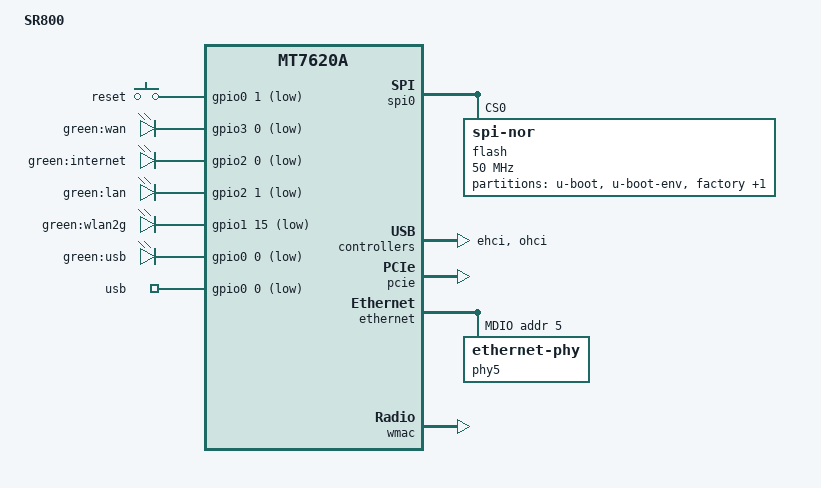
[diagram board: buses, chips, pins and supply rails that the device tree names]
// SPDX-License-Identifier: GPL-2.0-or-later OR MIT

#include "mt7620a.dtsi"

#include <dt-bindings/gpio/gpio.h>
#include <dt-bindings/input/input.h>

/ {
	compatible = "dlink,dwr-118-a1", "ralink,mt7620a-soc";
	model = "SR800";

	aliases {
		led-boot = &led_internet;
		led-failsafe = &led_internet;
		led-upgrade = &led_internet;
	};

	keys {
		compatible = "gpio-keys";
		reset {
			label = "reset";
			gpios = <&gpio0 1 GPIO_ACTIVE_LOW>;
			linux,code = <KEY_RESTART>;
		};
	};

	leds {
		compatible = "gpio-leds";

		wan {
			label = "green:wan";
			gpios = <&gpio3 0 GPIO_ACTIVE_LOW>;
		};

		led_internet: internet {
			label = "green:internet";
			gpios = <&gpio2 0 GPIO_ACTIVE_LOW>;
		};

		lan {
			label = "green:lan";
			gpios = <&gpio2 1 GPIO_ACTIVE_LOW>;
		};

		wlan2g {
			label = "green:wlan2g";
			gpios = <&gpio1 15 GPIO_ACTIVE_LOW>;
		};

		usb {
			label = "green:usb";
			gpios = <&gpio0 0 GPIO_ACTIVE_LOW>;
			trigger-sources = <&ohci_port1>, <&ehci_port1>;
			linux,default-trigger = "usbport";
		};
	};

	gpio_export {
		compatible = "gpio-export";
		#size-cells = <0>;

		usb {
			gpio-export,name = "usb";
			gpio-export,output = <0>;
			gpios = <&gpio0 0 GPIO_ACTIVE_LOW>;
		};
	};
};

&gpio1 {
	status = "okay";
};

&gpio2 {
	status = "okay";
};

&gpio3 {
	status = "okay";
};

&spi0 {
	status = "okay";

	flash@0 {
		compatible = "jedec,spi-nor";
		reg = <0>;
		spi-max-frequency = <50000000>;

		partitions {
			compatible = "fixed-partitions";
			#address-cells = <1>;
			#size-cells = <1>;

			partition@0 {
				label = "u-boot";
				reg = <0x0 0x30000>;
			};

			partition@30000 {
				label = "u-boot-env";
				reg = <0x30000 0x10000>;
				read-only;
			};

			factory: partition@40000 {
				label = "factory";
				reg = <0x40000 0x10000>;
				read-only;
			};

			partition@50000 {
				compatible = "denx,uimage";
				label = "firmware";
				reg = <0x50000 0xfb0000>;
			};
		};
	};
};

&ehci {
	status = "okay";
};

&ohci {
	status = "okay";
};

&state_default {
	default {
		groups = "ephy", "uartf", "spi refclk", "wled";
		function = "gpio";
	};
};

&pcie {
	status = "okay";
};

&pcie0 {
	wifi@0,0 {
		reg = <0x0000 0 0 0 0>;
		mediatek,mtd-eeprom = <&factory 0x8000>;

		led {
			led-sources = <0>;
			led-active-low;
		};
	};
};

&ethernet {
	pinctrl-names = "default";
	pinctrl-0 = <&rgmii1_pins &mdio_pins>;

	port@5 {
		status = "okay";
		phy-handle = <&phy5>;
		phy-mode = "rgmii";
	};

	mdio-bus {
		status = "okay";

		phy5: ethernet-phy@5 {
			reg = <5>;
			phy-mode = "rgmii-rxid";
		};
	};
};

&gsw {
	mediatek,port4-gmac;
};

&wmac {
	ralink,mtd-eeprom = <&factory 0x0>;
	pinctrl-names = "default";
	pinctrl-0 = <&pa_pins>;
};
